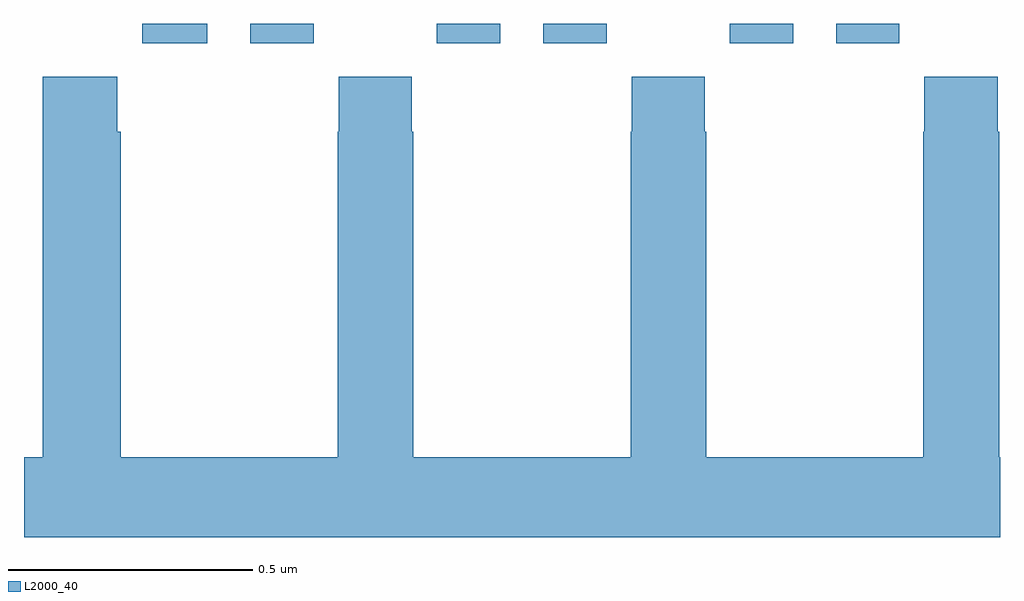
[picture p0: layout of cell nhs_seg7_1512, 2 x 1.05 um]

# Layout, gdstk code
import gdstk
lib = gdstk.Library(unit=1e-6, precision=1e-09)
def R(c, l, rs):  # rectangles x0, y0, x1, y1
    for r in rs: c.add(gdstk.rectangle(r[:2], r[2:], *l))
def P(c, l, *ps):  # polygons
    for p in ps: c.add(gdstk.Polygon(p, *l))
L2000_40 = (2000, 40)

nhs_seg7_1512 = lib.new_cell('nhs_seg7_1512')
R(nhs_seg7_1512, L2000_40, [(132.242,1002.96,132.376,1003), (132.464,1002.96,132.594,1003), (132.846,1002.96,132.976,1003), (133.064,1002.96,133.194,1003), (133.446,1002.96,133.576,1003), (133.664,1002.96,133.794,1003)])
P(nhs_seg7_1512, L2000_40, [(133.245,1002.892),(133.245,1002.779),(133.243,1002.779),(133.243,1002.112),(132.798,1002.112),(132.798,1002.779),(132.795,1002.779),(132.795,1002.892),(132.645,1002.892),(132.645,1002.779),(132.643,1002.779),(132.643,1002.112),(132.198,1002.112),(132.198,1002.779),(132.191,1002.779),(132.191,1002.892),(132.038,1002.892),(132.038,1002.112),(132,1002.112),(132,1001.948),(134,1001.948),(134,1002.112),(133.998,1002.112),(133.998,1002.779),(133.995,1002.779),(133.995,1002.892),(133.845,1002.892),(133.845,1002.779),(133.843,1002.779),(133.843,1002.112),(133.398,1002.112),(133.398,1002.779),(133.395,1002.779),(133.395,1002.892)])

lib.write_gds('nhs_seg7_1512.gds')
